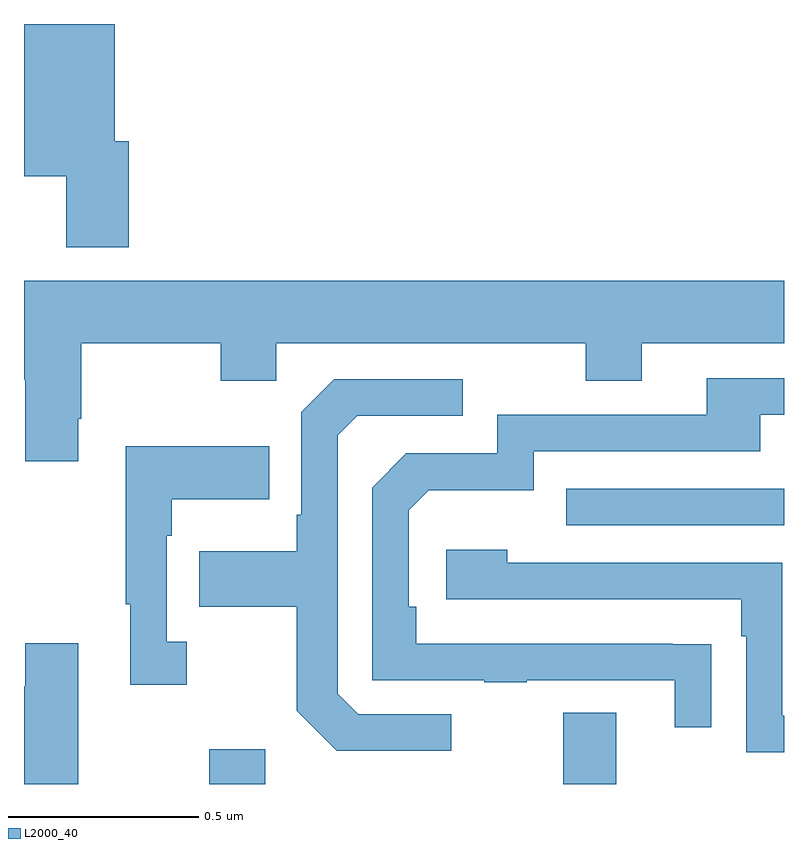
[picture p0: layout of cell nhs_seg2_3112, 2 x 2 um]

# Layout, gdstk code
import gdstk
lib = gdstk.Library(unit=1e-6, precision=1e-09)
def R(c, l, rs):  # rectangles x0, y0, x1, y1
    for r in rs: c.add(gdstk.rectangle(r[:2], r[2:], *l))
def P(c, l, *ps):  # polygons
    for p in ps: c.add(gdstk.Polygon(p, *l))
L2000_40 = (2000, 40)

nhs_seg2_3112 = lib.new_cell('nhs_seg2_3112')
R(nhs_seg2_3112, L2000_40, [(149.488,655.8,149.635,655.891), (150.419,655.8,150.559,655.987), (150.427,656.481,151,656.577)])
P(nhs_seg2_3112, L2000_40, [(149.276,657.492),(149.239,657.492),(149.239,657.8),(149,657.8),(149,657.399),(149.111,657.399),(149.111,657.213),(149.276,657.213)],
  [(149.143,656.761),(149.151,656.761),(149.151,656.96),(149.518,656.96),(149.518,656.861),(149.664,656.861),(149.664,656.96),(150.478,656.96),(150.478,656.861),(150.625,656.861),(150.625,656.96),(151,656.96),(151,657.124),(149,657.124),(149,656.864),(149.003,656.864),(149.003,656.649),(149.143,656.649)],
  [(150.809,656.168),(150.707,656.168),(150.707,656.169),(150.032,656.169),(150.032,656.266),(150.012,656.266),(150.012,656.52),(150.065,656.573),(150.342,656.573),(150.342,656.676),(150.937,656.676),(150.937,656.772),(151,656.772),(151,656.868),(150.797,656.868),(150.797,656.772),(150.246,656.772),(150.246,656.67),(150.006,656.67),(149.916,656.58),(149.916,656.073),(150.211,656.073),(150.211,656.068),(150.323,656.068),(150.323,656.073),(150.713,656.073),(150.713,655.95),(150.809,655.95)],
  [(150.124,655.983),(149.88,655.983),(149.826,656.037),(149.826,656.718),(149.877,656.769),(150.154,656.769),(150.154,656.865),(149.817,656.865),(149.73,656.778),(149.73,656.509),(149.718,656.509),(149.718,656.413),(149.461,656.413),(149.461,656.266),(149.718,656.266),(149.718,655.993),(149.823,655.887),(150.124,655.887)],
  [(149.428,656.174),(149.376,656.174),(149.376,656.453),(149.389,656.453),(149.389,656.549),(149.645,656.549),(149.645,656.689),(149.268,656.689),(149.268,656.273),(149.279,656.273),(149.279,656.061),(149.428,656.061)],
  [(151,655.98),(150.996,655.98),(150.996,656.382),(150.272,656.382),(150.272,656.416),(150.111,656.416),(150.111,656.286),(150.887,656.286),(150.887,656.189),(150.9,656.189),(150.9,655.884),(151,655.884)],
  [(149.143,656.17),(149.003,656.17),(149.003,656.057),(149,656.057),(149,655.8),(149.143,655.8)])

lib.write_gds('nhs_seg2_3112.gds')
